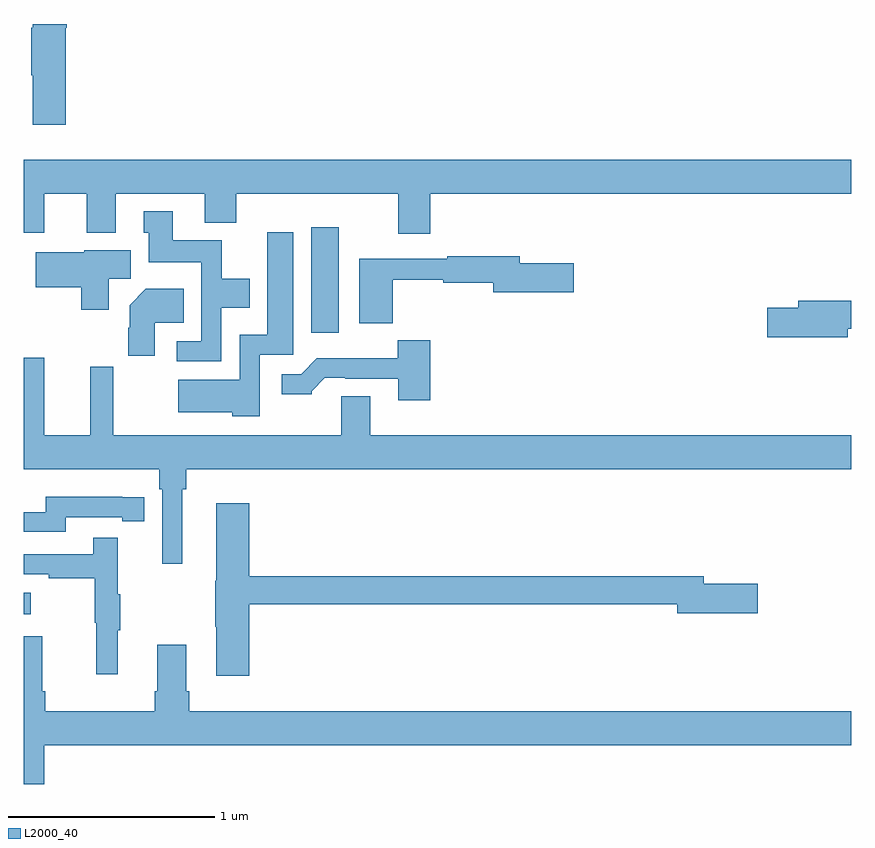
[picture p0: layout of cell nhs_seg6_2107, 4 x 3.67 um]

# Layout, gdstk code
import gdstk
lib = gdstk.Library(unit=1e-6, precision=1e-09)
def R(c, l, rs):  # rectangles x0, y0, x1, y1
    for r in rs: c.add(gdstk.rectangle(r[:2], r[2:], *l))
def P(c, l, *ps):  # polygons
    for p in ps: c.add(gdstk.Polygon(p, *l))
L2000_40 = (2000, 40)

nhs_seg6_2107 = lib.new_cell('nhs_seg6_2107')
R(nhs_seg6_2107, L2000_40, [(237,934.649,237.034,934.753), (238.391,936.009,238.522,936.517)])
P(nhs_seg6_2107, L2000_40, [(237.203,937.482),(237.208,937.482),(237.208,937.5),(237.044,937.5),(237.044,937.482),(237.037,937.482),(237.037,937.252),(237.044,937.252),(237.044,937.014),(237.203,937.014)],
  [(238.964,936.68),(241,936.68),(241,936.844),(237,936.844),(237,936.492),(237.1,936.492),(237.1,936.68),(237.305,936.68),(237.305,936.491),(237.445,936.491),(237.445,936.68),(237.875,936.68),(237.875,936.539),(238.028,936.539),(238.028,936.68),(238.811,936.68),(238.811,936.486),(238.964,936.486)],
  [(237.954,936.128),(238.093,936.128),(238.093,936.268),(237.957,936.268),(237.957,936.454),(237.721,936.454),(237.721,936.595),(237.581,936.595),(237.581,936.492),(237.605,936.492),(237.605,936.35),(237.858,936.35),(237.858,935.967),(237.741,935.967),(237.741,935.871),(237.954,935.871)],
  [(238.14,935.901),(238.303,935.901),(238.303,936.493),(238.178,936.493),(238.178,935.998),(238.044,935.998),(238.044,935.782),(237.747,935.782),(237.747,935.624),(238.008,935.624),(238.008,935.606),(238.14,935.606)],
  [(237.412,936.268),(237.517,936.268),(237.517,936.406),(237.294,936.406),(237.294,936.397),(237.06,936.397),(237.06,936.227),(237.278,936.227),(237.278,936.12),(237.412,936.12)],
  [(238.784,936.265),(239.028,936.265),(239.028,936.25),(239.27,936.25),(239.27,936.203),(239.659,936.203),(239.659,936.345),(239.398,936.345),(239.398,936.379),(239.047,936.379),(239.047,936.366),(238.622,936.366),(238.622,936.053),(238.784,936.053)],
  [(237.634,936.056),(237.773,936.056),(237.773,936.22),(237.59,936.22),(237.512,936.142),(237.512,936.032),(237.505,936.032),(237.505,935.898),(237.634,935.898)],
  [(240.982,936.028),(241,936.028),(241,936.164),(240.743,936.164),(240.743,936.128),(240.594,936.128),(240.594,935.986),(240.982,935.986)],
  [(238.964,935.971),(238.809,935.971),(238.809,935.884),(238.417,935.884),(238.341,935.808),(238.248,935.808),(238.248,935.711),(238.392,935.711),(238.392,935.726),(238.456,935.79),(238.555,935.79),(238.555,935.787),(238.811,935.787),(238.811,935.682),(238.964,935.682)],
  [(237.766,935.252),(237.785,935.252),(237.785,935.348),(241,935.348),(241,935.512),(238.675,935.512),(238.675,935.702),(238.535,935.702),(238.535,935.512),(237.433,935.512),(237.433,935.845),(237.322,935.845),(237.322,935.512),(237.1,935.512),(237.1,935.887),(237,935.887),(237,935.348),(237.656,935.348),(237.656,935.252),(237.669,935.252),(237.669,934.893),(237.766,934.893)],
  [(237.204,935.118),(237.476,935.118),(237.476,935.098),(237.584,935.098),(237.584,935.214),(237.476,935.214),(237.476,935.215),(237.108,935.215),(237.108,935.142),(237,935.142),(237,935.046),(237.204,935.046)],
  [(238.091,934.696),(240.158,934.696),(240.158,934.654),(240.547,934.654),(240.547,934.796),(240.286,934.796),(240.286,934.832),(238.091,934.832),(238.091,935.185),(237.932,935.185),(237.932,934.809),(237.925,934.809),(237.925,934.588),(237.932,934.588),(237.932,934.35),(238.091,934.35)],
  [(237.455,934.571),(237.466,934.571),(237.466,934.745),(237.455,934.745),(237.455,935.017),(237.337,935.017),(237.337,934.938),(237,934.938),(237,934.842),(237.121,934.842),(237.121,934.822),(237.345,934.822),(237.345,934.608),(237.352,934.608),(237.352,934.359),(237.455,934.359)],
  [(237.1,934.016),(241,934.016),(241,934.18),(237.8,934.18),(237.8,934.276),(237.787,934.276),(237.787,934.501),(237.647,934.501),(237.647,934.276),(237.635,934.276),(237.635,934.18),(237.104,934.18),(237.104,934.276),(237.091,934.276),(237.091,934.543),(237,934.543),(237,933.828),(237.1,933.828)])

lib.write_gds('nhs_seg6_2107.gds')
